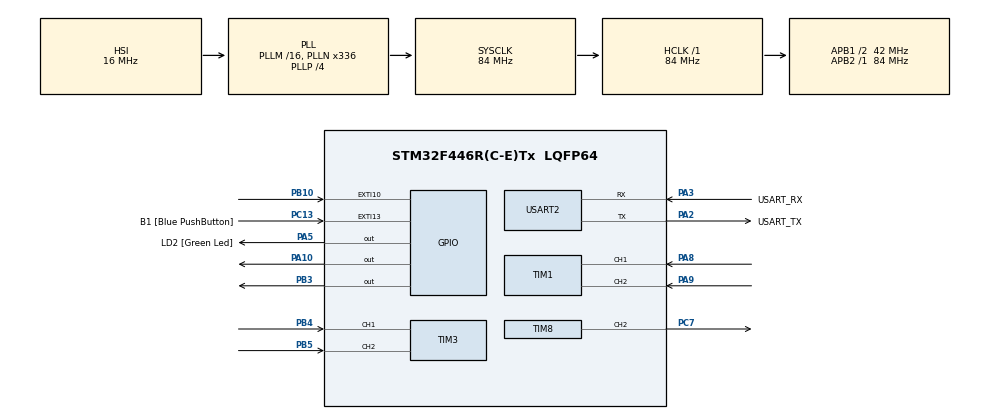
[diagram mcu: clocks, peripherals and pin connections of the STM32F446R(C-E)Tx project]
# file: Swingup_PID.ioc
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Mcu.Family=STM32F4
Mcu.Name=STM32F446R(C-E)Tx
Mcu.Package=LQFP64
NVIC.EXTI15_10_IRQn=true\:0\:0\:false\:false\:true\:true\:true\:true
NVIC.PriorityGroup=NVIC_PRIORITYGROUP_0
NVIC.TIM1_CC_IRQn=true\:0\:0\:false\:false\:true\:true\:true\:true
PA10.Signal=GPIO_Output
PA13.GPIO_Label=TMS
PA13.Mode=Serial_Wire
PA13.Signal=SYS_JTMS-SWDIO
PA14.GPIO_Label=TCK
PA14.Mode=Serial_Wire
PA14.Signal=SYS_JTCK-SWCLK
PA2.GPIO_Label=USART_TX
PA2.Mode=Asynchronous
PA2.Signal=USART2_TX
PA3.GPIO_Label=USART_RX
PA3.Mode=Asynchronous
PA3.Signal=USART2_RX
PA5.GPIO_Label=LD2 [Green Led]
PA5.Signal=GPIO_Output
PA8.Signal=S_TIM1_CH1
PA9.Signal=S_TIM1_CH2
PB10.Signal=GPXTI10
PB3.Signal=GPIO_Output
PB4.Signal=S_TIM3_CH1
PB5.Signal=S_TIM3_CH2
PC13.GPIO_Label=B1 [Blue PushButton]
PC13.GPIO_ModeDefaultEXTI=GPIO_MODE_IT_FALLING
PC13.Signal=GPXTI13
PC14-OSC32_IN.Mode=LSE-External-Oscillator
PC14-OSC32_IN.Signal=RCC_OSC32_IN
PC15-OSC32_OUT.Mode=LSE-External-Oscillator
PC15-OSC32_OUT.Signal=RCC_OSC32_OUT
PC7.Signal=S_TIM8_CH2
PH0-OSC_IN.Mode=HSE-External-Oscillator
PH0-OSC_IN.Signal=RCC_OSC_IN
PH1-OSC_OUT.Mode=HSE-External-Oscillator
PH1-OSC_OUT.Signal=RCC_OSC_OUT
ProjectManager.HeapSize=0x200
ProjectManager.StackSize=0x400
ProjectManager.TargetToolchain=STM32CubeIDE
RCC.48MHZClocksFreq_Value=84000000
RCC.AHBFreq_Value=84000000
RCC.APB1CLKDivider=RCC_HCLK_DIV2
RCC.APB1Freq_Value=42000000
RCC.APB1TimFreq_Value=84000000
RCC.APB2Freq_Value=84000000
RCC.APB2TimFreq_Value=84000000
RCC.CortexFreq_Value=84000000
RCC.FLatency-AdvancedSettings=FLASH_LATENCY_2
RCC.HCLKFreq_Value=84000000
RCC.HSE_VALUE=8000000
RCC.HSI_VALUE=16000000
RCC.PLLN=336
RCC.PLLP=RCC_PLLP_DIV4
RCC.SYSCLKFreq_VALUE=84000000
RCC.SYSCLKSource=RCC_SYSCLKSOURCE_PLLCLK
RCC.USBFreq_Value=168000000
RCC.VCOOutputFreq_Value=336000000
SH.S_TIM1_CH1.0=TIM1_CH1,Encoder_Interface
SH.S_TIM1_CH2.0=TIM1_CH2,Encoder_Interface
SH.S_TIM3_CH1.0=TIM3_CH1,Encoder_Interface
SH.S_TIM3_CH2.0=TIM3_CH2,Encoder_Interface
SH.S_TIM8_CH2.0=TIM8_CH2,PWM Generation2 CH2
TIM1.EncoderMode=TIM_ENCODERMODE_TI12
TIM3.EncoderMode=TIM_ENCODERMODE_TI12
TIM8.Channel-PWM\ Generation2\ CH2=TIM_CHANNEL_2
TIM8.Period=4199
USART2.VirtualMode=VM_ASYNC
board=NUCLEO-F446RE

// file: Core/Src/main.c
/* USER CODE BEGIN Header */
/**
  ******************************************************************************
  * @file           : main.c
  * @brief          : Main program body
  ******************************************************************************
  */
/* USER CODE END Header */
#include "main.h"

/* USER CODE BEGIN Includes */
#include <stdio.h>
#include <string.h>
#include <math.h>
#include "furuta_controller.h"
#include "furuta_swingup.h"
/* USER CODE END Includes */

/* USER CODE BEGIN PD */
#define CONTROL_PERIOD_MS        (1U)
#define TELEMETRY_PERIOD_MS      (50U)
#define PWM_DUTY_SAFETY_CAP      (0.80f)

/* USER CODE END PD */

TIM_HandleTypeDef htim1;
TIM_HandleTypeDef htim3;
TIM_HandleTypeDef htim8;

UART_HandleTypeDef huart2;

/* USER CODE BEGIN PV */
volatile uint8_t test_trigger = 0U;
float test_pwm_duty = 0.60f;
volatile uint32_t last_button_press = 0;
volatile uint8_t live_trigger_blue_btn = 0;

volatile int32_t motor_ticks_debug = 0;

FurutaController g_controller;
FurutaControllerConfig g_config;
FurutaControlOutput g_output;

SwingUpController g_swingup_controller;

uint32_t last_control_tick_ms = 0;
uint32_t last_print_tick_ms = 0;
volatile int16_t kickstart_countdown_ms = 0;
volatile uint8_t switch_flag = 0U;
volatile uint8_t pid_stop_latched = 0U;
volatile uint16_t switch_ready_count = 0U;

#define SWITCH_ANGLE_RAD            (0.15f)
#define SWITCH_PEND_VEL_RAD_S       (5.00f)
#define SWITCH_ARM_VEL_RAD_S        (5.0f)
#define SWITCH_CONFIRM_COUNT        (10U)

/* USER CODE END PV */

void SystemClock_Config(void);
static void MX_GPIO_Init(void);
static void MX_USART2_UART_Init(void);
static void MX_TIM1_Init(void);
static void MX_TIM3_Init(void);
static void MX_TIM8_Init(void);
/* USER CODE BEGIN PFP */
static void uart_print(const char *s);
static void motor_drive_apply(int8_t direction, float pwm_duty);
/* USER CODE END PFP */

/* USER CODE BEGIN 0 */
static void uart_print(const char *s)
{
  HAL_UART_Transmit(&huart2, (uint8_t *)s, strlen(s), HAL_MAX_DELAY);
}

void HAL_GPIO_EXTI_Callback(uint16_t GPIO_Pin)
{
#if 0
	if (GPIO_Pin == GPIO_PIN_13)
	{
		// Get the current system time in milliseconds
		        uint32_t current_time = HAL_GetTick();

		        // 2. Debounce: Only accept presses that are at least 200ms apart
		        if ((current_time - last_button_press) > 200)
		        {
		            // Toggle the variable cleanly
		            test_trigger = !test_trigger;

		            // Update the time for the next press
		            last_button_press = current_time;
		        }
	}

#endif
    if (GPIO_Pin == GPIO_PIN_13)
    {
        /* ---------- blue button: if PID is active, stop immediately ---------- */
        if ((switch_flag == 1U) && (g_controller.control_enabled != 0U))
        {
            Disable_SwingUp(&g_swingup_controller);
            FurutaController_DisableControl(&g_controller);

            motor_drive_apply(0, 0.0f);

            g_swingup_controller.output.raw_control = 0.0f;
            g_swingup_controller.output.saturated_control = 0.0f;
            g_swingup_controller.output.pwm_duty = 0.0f;
            g_swingup_controller.output.direction = 0;
            g_swingup_controller.logic.energy_control = 0.0f;
            g_swingup_controller.logic.torque = 0.0f;

            g_output.raw_control = 0.0f;
            g_output.saturated_control = 0.0f;
            g_output.pwm_duty = 0.0f;
            g_output.direction = 0;

            switch_flag = 0U;
            switch_ready_count = 0U;
            kickstart_countdown_ms = 0;
            pid_stop_latched = 1U;

            return;
        }

        /* ---------- blue button: if swing up is active, stop immediately ---------- */
        if ((switch_flag == 0U) && (g_swingup_controller.control_enabled != 0U))
        {
            Disable_SwingUp(&g_swingup_controller);
            FurutaController_DisableControl(&g_controller);

            motor_drive_apply(0, 0.0f);

            g_swingup_controller.output.raw_control = 0.0f;
            g_swingup_controller.output.saturated_control = 0.0f;
            g_swingup_controller.output.pwm_duty = 0.0f;
            g_swingup_controller.output.direction = 0;
            g_swingup_controller.logic.energy_control = 0.0f;
            g_swingup_controller.logic.torque = 0.0f;

            g_output.raw_control = 0.0f;
            g_output.saturated_control = 0.0f;
            g_output.pwm_duty = 0.0f;
            g_output.direction = 0;

            switch_flag = 0U;
            switch_ready_count = 0U;
            kickstart_countdown_ms = 0;
            pid_stop_latched = 1U;

            return;
        }

        /* ---------- blue button: if everything is stopped, start swing-up ---------- */
        if ((g_swingup_controller.control_enabled == 0U) &&
            (g_controller.control_enabled == 0U))
        {
            uint16_t pendulum_cnt_now = (uint16_t)__HAL_TIM_GET_COUNTER(&htim3);
            uint16_t motor_counter_now = (uint16_t)__HAL_TIM_GET_COUNTER(&htim1);

            motor_drive_apply(0, 0.0f);

            FurutaController_DisableControl(&g_controller);

            SwingUp_Controller_init(&g_swingup_controller,
                                    pendulum_cnt_now,
                                    motor_counter_now);
            Enable_SwingUp(&g_swingup_controller);

            g_swingup_controller.output.raw_control = 0.0f;
            g_swingup_controller.output.saturated_control = 0.0f;
            g_swingup_controller.output.pwm_duty = 0.0f;
            g_swingup_controller.output.direction = 0;
            g_swingup_controller.logic.energy_control = 0.0f;
            g_swingup_controller.logic.torque = 0.0f;

            g_output.raw_control = 0.0f;
            g_output.saturated_control = 0.0f;
            g_output.pwm_duty = 0.0f;
            g_output.direction = 0;

            pid_stop_latched = 0U;
            switch_flag = 0U;
            switch_ready_count = 0U;
            kickstart_countdown_ms = 100;
        }
    }

}

static void motor_drive_apply(int8_t direction, float pwm_duty)
{
  uint32_t arr = __HAL_TIM_GET_AUTORELOAD(&htim8);
  uint32_t compare = 0U;

  if (pwm_duty < 0.0f)
  {
    pwm_duty = 0.0f;
  }
  if (pwm_duty > PWM_DUTY_SAFETY_CAP)
  {
    pwm_duty = PWM_DUTY_SAFETY_CAP;
  }

  compare = (uint32_t)(pwm_duty * (float)arr);

  if (direction > 0)
  {
    HAL_GPIO_WritePin(GPIOA, GPIO_PIN_10, GPIO_PIN_RESET);
    HAL_GPIO_WritePin(GPIOB, GPIO_PIN_3,  GPIO_PIN_SET);
  }
  else if (direction < 0)
  {
    HAL_GPIO_WritePin(GPIOA, GPIO_PIN_10, GPIO_PIN_SET);
    HAL_GPIO_WritePin(GPIOB, GPIO_PIN_3,  GPIO_PIN_RESET);
  }
  else
  {
    HAL_GPIO_WritePin(GPIOA, GPIO_PIN_10, GPIO_PIN_RESET);
    HAL_GPIO_WritePin(GPIOB, GPIO_PIN_3,  GPIO_PIN_RESET);
    compare = 0U;
  }

  __HAL_TIM_SET_COMPARE(&htim8, TIM_CHANNEL_2, compare);
}
/* USER CODE END 0 */

int main(void)
{

  /* MCU Configuration--------------------------------------------------------*/

  /* Reset of all peripherals, Initializes the Flash interface and the Systick. */
  HAL_Init();

  /* Configure the system clock */
  SystemClock_Config();

  /* Initialize all configured peripherals */
  MX_GPIO_Init();
  MX_USART2_UART_Init();
  MX_TIM1_Init();
  MX_TIM3_Init();
  MX_TIM8_Init();
  /* USER CODE BEGIN 2 */

  HAL_Delay(500);
  uart_print("Booting Swing Up controller...\r\n");

  HAL_TIM_Encoder_Start(&htim3, TIM_CHANNEL_ALL);   // 小摆杆编码器 D4/D5
  HAL_TIM_Encoder_Start(&htim1, TIM_CHANNEL_ALL);   // motor encoder D7/D8
  HAL_TIM_PWM_Start(&htim8, TIM_CHANNEL_2);         // PWMA = D9

  motor_drive_apply(0, 0.0f);

  g_swingup_controller.output.raw_control = 0.0f;
  g_swingup_controller.output.saturated_control = 0.0f;
  g_swingup_controller.output.pwm_duty = 0.0f;
  g_swingup_controller.output.direction = 0U;

  g_swingup_controller.config.sample_time_s = 0.001f;
  g_swingup_controller.config.pendulum_counts_per_rev = 4096.0f;
  g_swingup_controller.config.motor_counts_per_rev = 44.0f;
  g_swingup_controller.config.motor_gear_ratio = 9.267f;
  //g_swingup_controller.config.arm_outer_loop_divider = 5U;
  g_swingup_controller.config.control_limit = 0.170f; // 0.080f 0.160f
  g_swingup_controller.config.deadband = 0.0f;
  g_swingup_controller.config.kickstart_pwm_duty = 0.10f;   // 原来 0.08

  g_swingup_controller.mech_params.L_arm = 145e-3f;
  g_swingup_controller.mech_params.I_arm = 7.1e-4f;
  g_swingup_controller.mech_params.lcom_1 = 0.0503f;
  g_swingup_controller.mech_params.I_1 = 1.05e-4f;
  g_swingup_controller.mech_params.m_1 = 0.0542f;
  g_swingup_controller.mech_params.g = 9.81f;

  g_swingup_controller.mech_params.f_v_arm = 0.0f;
  g_swingup_controller.mech_params.f_c_arm = 0.0f;
  g_swingup_controller.mech_params.k_fc_arm = 0.0f;
  g_swingup_controller.mech_params.f_v_1 = 0.0f;
  g_swingup_controller.mech_params.f_c_1 = 0.0f;
  g_swingup_controller.mech_params.k_fc_1 = 0.0f;

  g_swingup_controller.tuning_params.K = 0.0035f;           // 原来 0.0030
  g_swingup_controller.tuning_params.arm_kp = 1.00f;
  g_swingup_controller.tuning_params.arm_kd = 1.40f;       // 原来 0
  g_swingup_controller.tuning_params.target_energy_offset = 0.03f;
  g_swingup_controller.tuning_params.tanh_smoothing_factor = 100.0f;
  g_swingup_controller.tuning_params.v_theta_1_LPF_gain = 0.90f;
  g_swingup_controller.tuning_params.v_theta_arm_LPF_gain = 0.90f;

  g_config = FurutaController_DefaultConfig();
  g_config.motor_counts_per_rev = 44.0f;
  g_config.motor_gear_ratio = 9.267f;
  g_config.sample_time_s = 0.001f;
  g_config.control_limit = 1.0f;
  g_config.deadband = 0.0f;

  g_config.pendulum_pid.kp = 3.2f;
  g_config.pendulum_pid.ki = 0.0f;
  g_config.pendulum_pid.kd = 0.15f;
  g_config.pendulum_pid.output_min = -100.0f;
  g_config.pendulum_pid.output_max = 100.0f;
  g_config.pendulum_pid.derivative_filter_n = 10.0f;

  g_config.arm_outer_loop_divider = 7U;
  g_config.arm_pid.kp = 0.01f;
  g_config.arm_pid.ki = 0.0f;
  g_config.arm_pid.kd = 0.045f;
  g_config.arm_pid.output_min = -0.10f;
  g_config.arm_pid.output_max = 0.10f;
  g_config.arm_pid.derivative_filter_n = 8.0f;
  {
      uint16_t motor_counter_now = (uint16_t)__HAL_TIM_GET_COUNTER(&htim1);
      motor_ticks_debug = (int32_t)motor_counter_now;

      SwingUp_Controller_init(&g_swingup_controller,
                            (uint16_t)__HAL_TIM_GET_COUNTER(&htim3),
                            motor_counter_now);

      FurutaController_Init(&g_controller,
                                  &g_config,
                                  (uint16_t)__HAL_TIM_GET_COUNTER(&htim3),
                                  motor_counter_now);

  }

  last_control_tick_ms = HAL_GetTick();
  last_print_tick_ms = HAL_GetTick();

  //uart_print("Controller initialized in SAFE mode. Pendulum down = reference, motor output disabled.\r\n");
  //uart_print("Manually swing the pendulum, then press the blue button to enable balance control.\r\n");
  /* USER CODE END 2 */

  /* Infinite loop */
  /* USER CODE BEGIN WHILE */
#if 0
  while (1)
  {
	  if (test_trigger == 1U)
	  {
		  motor_drive_apply(1U, test_pwm_duty);
	  }
	  else
	  {
		  motor_drive_apply(0, 0.0f);
	  }
  }

#endif
  while (1)
  {
	  if (live_trigger_blue_btn == 1)
	  {
		live_trigger_blue_btn = 0; // Reset it immediately
		HAL_GPIO_EXTI_Callback(GPIO_PIN_13); // Simulate the interrupt
	  }

      uint32_t now_ms = HAL_GetTick();

      if ((now_ms - last_control_tick_ms) >= 1U)
      {
          uint16_t motor_counter_now = (uint16_t)__HAL_TIM_GET_COUNTER(&htim1);
          uint16_t pendulum_cnt_now  = (uint16_t)__HAL_TIM_GET_COUNTER(&htim3);

          motor_ticks_debug = (int32_t)motor_counter_now;

          if ((switch_flag == 0U) && (pid_stop_latched == 0U))
          {
              g_swingup_controller.output = Compute_SwingUpOutput(&g_swingup_controller,
                                               pendulum_cnt_now,
                                               motor_counter_now);

              SwingUp_arm_angle_velocity_limit(&g_swingup_controller, 3.13f, 180.0f);
          }
          else
          {
              g_swingup_controller.output.raw_control = 0.0f;
              g_swingup_controller.output.saturated_control = 0.0f;
              g_swingup_controller.output.pwm_duty = 0.0f;
              g_swingup_controller.output.direction = 0;
              g_swingup_controller.logic.energy_control = 0.0f;
              g_swingup_controller.logic.torque = 0.0f;
          }

          g_output = FurutaController_Step(&g_controller,
                                           pendulum_cnt_now,
                                           motor_counter_now);
          /* ---------- swing-up -> PID switching ---------- */
          if ((g_swingup_controller.control_enabled != 0U) &&
              (switch_flag == 0U) &&
              (pid_stop_latched == 0U))
          {
              uint8_t switch_ready = 0U;
              float pa = g_controller.measured.pendulum_angle_rad;
              float pv = g_controller.measured.pendulum_velocity_rad_s;
              float av = g_controller.measured.arm_velocity_rad_s;

              if ((fabsf(pa) < SWITCH_ANGLE_RAD) &&
                  (fabsf(pv) < SWITCH_PEND_VEL_RAD_S) &&
                  (fabsf(av) < SWITCH_ARM_VEL_RAD_S))
              {
                  switch_ready = 1U;
              }

              if (switch_ready != 0U)
              {
                  if (switch_ready_count < SWITCH_CONFIRM_COUNT)
                  {
                      switch_ready_count++;
                  }
              }
              else
              {
                  switch_ready_count = 0U;
              }

              if (switch_ready_count >= SWITCH_CONFIRM_COUNT)
              {
                  Disable_SwingUp(&g_swingup_controller);

                  g_swingup_controller.output.raw_control = 0.0f;
                  g_swingup_controller.output.saturated_control = 0.0f;
                  g_swingup_controller.output.pwm_duty = 0.0f;
                  g_swingup_controller.output.direction = 0;
                  g_swingup_controller.logic.energy_control = 0.0f;
                  g_swingup_controller.logic.torque = 0.0f;

                  FurutaController_EnableControl(&g_controller);

                  switch_flag = 1U;
                  switch_ready_count = 0U;
                  kickstart_countdown_ms = 0;
                  pid_stop_latched = 0U;

                  uart_print("Switched to PID control.\r\n");
              }
          }
          else
          {
              switch_ready_count = 0U;
          }

          /* ---------- if PID loses balance, stop and wait for next blue button ---------- */
          if ((switch_flag == 1U) &&
              (g_controller.control_enabled == 0U) &&
              (pid_stop_latched == 0U))
          {
              Disable_SwingUp(&g_swingup_controller);
              FurutaController_DisableControl(&g_controller);

              g_swingup_controller.output.raw_control = 0.0f;
              g_swingup_controller.output.saturated_control = 0.0f;
              g_swingup_controller.output.pwm_duty = 0.0f;
              g_swingup_controller.output.direction = 0;
              g_swingup_controller.logic.energy_control = 0.0f;
              g_swingup_controller.logic.torque = 0.0f;

              switch_ready_count = 0U;
              kickstart_countdown_ms = 0;
              pid_stop_latched = 1U;

              motor_drive_apply(0, 0.0f);
              uart_print("PID failed, motor stopped. Press blue button to restart.\r\n");
          }
          /* ---------- apply motor output ---------- */
                  if (pid_stop_latched != 0U)
                  {
                      motor_drive_apply(0, 0.0f);
                  }
                  else if ((switch_flag == 0U) && (kickstart_countdown_ms > 0))
                  {
                      motor_drive_apply(1, 0.10f);
                      kickstart_countdown_ms--;
                  }
                  else if (switch_flag == 1U)
                  {
                      motor_drive_apply(g_output.direction, g_output.pwm_duty);
                  }
                  else
                  {
                      motor_drive_apply(g_swingup_controller.output.direction,
                                        g_swingup_controller.output.pwm_duty);
                  }

                  last_control_tick_ms = now_ms;
              }

      if ((now_ms - last_print_tick_ms) >= 50U)
      {
          char msg[260];

          float pa = g_swingup_controller.measured.pendulum_angle_rad;
          float pv = g_swingup_controller.measured.pendulum_velocity_rad_s;
          float av = g_swingup_controller.measured.arm_velocity_rad_s;

          uint8_t c1 = (fabsf(pa) < SWITCH_ANGLE_RAD) ? 1U : 0U;
          uint8_t c2 = (fabsf(pv) < SWITCH_PEND_VEL_RAD_S) ? 1U : 0U;
          uint8_t c3 = (fabsf(av) < SWITCH_ARM_VEL_RAD_S) ? 1U : 0U;

          snprintf(msg, sizeof(msg),
                   "sw=%u rc=%u suc=%u pa=%.3f pv=%.3f av=%.3f c=%u%u%u\r\n",
                   switch_flag,
                   switch_ready_count,
                   g_swingup_controller.swingup_success,
                   pa, pv, av,
                   c1, c2, c3);

          last_print_tick_ms = now_ms;
      }
          }

  /* USER CODE END 3 */
}

void SystemClock_Config(void)
{
  RCC_OscInitTypeDef RCC_OscInitStruct = {0};
  RCC_ClkInitTypeDef RCC_ClkInitStruct = {0};

  /** Configure the main internal regulator output voltage
  */
  __HAL_RCC_PWR_CLK_ENABLE();
  __HAL_PWR_VOLTAGESCALING_CONFIG(PWR_REGULATOR_VOLTAGE_SCALE3);

  /** Initializes the RCC Oscillators according to the specified parameters
  * in the RCC_OscInitTypeDef structure.
  */
  RCC_OscInitStruct.OscillatorType = RCC_OSCILLATORTYPE_HSI;
  RCC_OscInitStruct.HSIState = RCC_HSI_ON;
  RCC_OscInitStruct.HSICalibrationValue = RCC_HSICALIBRATION_DEFAULT;
  RCC_OscInitStruct.PLL.PLLState = RCC_PLL_ON;
  RCC_OscInitStruct.PLL.PLLSource = RCC_PLLSOURCE_HSI;
  RCC_OscInitStruct.PLL.PLLM = 16;
  RCC_OscInitStruct.PLL.PLLN = 336;
  RCC_OscInitStruct.PLL.PLLP = RCC_PLLP_DIV4;
  RCC_OscInitStruct.PLL.PLLQ = 2;
  RCC_OscInitStruct.PLL.PLLR = 2;
  if (HAL_RCC_OscConfig(&RCC_OscInitStruct) != HAL_OK)
  {
    Error_Handler();
  }

  /** Initializes the CPU, AHB and APB buses clocks
  */
  RCC_ClkInitStruct.ClockType = RCC_CLOCKTYPE_HCLK|RCC_CLOCKTYPE_SYSCLK
                              |RCC_CLOCKTYPE_PCLK1|RCC_CLOCKTYPE_PCLK2;
  RCC_ClkInitStruct.SYSCLKSource = RCC_SYSCLKSOURCE_PLLCLK;
  RCC_ClkInitStruct.AHBCLKDivider = RCC_SYSCLK_DIV1;
  RCC_ClkInitStruct.APB1CLKDivider = RCC_HCLK_DIV2;
  RCC_ClkInitStruct.APB2CLKDivider = RCC_HCLK_DIV1;

  if (HAL_RCC_ClockConfig(&RCC_ClkInitStruct, FLASH_LATENCY_2) != HAL_OK)
  {
    Error_Handler();
  }
}

static void MX_TIM1_Init(void)
{

  TIM_Encoder_InitTypeDef sConfig = {0};
  TIM_MasterConfigTypeDef sMasterConfig = {0};

  htim1.Instance = TIM1;
  htim1.Init.Prescaler = 0;
  htim1.Init.CounterMode = TIM_COUNTERMODE_UP;
  htim1.Init.Period = 65535;
  htim1.Init.ClockDivision = TIM_CLOCKDIVISION_DIV1;
  htim1.Init.RepetitionCounter = 0;
  htim1.Init.AutoReloadPreload = TIM_AUTORELOAD_PRELOAD_DISABLE;
  sConfig.EncoderMode = TIM_ENCODERMODE_TI12;
  sConfig.IC1Polarity = TIM_ICPOLARITY_RISING;
  sConfig.IC1Selection = TIM_ICSELECTION_DIRECTTI;
  sConfig.IC1Prescaler = TIM_ICPSC_DIV1;
  sConfig.IC1Filter = 0;
  sConfig.IC2Polarity = TIM_ICPOLARITY_RISING;
  sConfig.IC2Selection = TIM_ICSELECTION_DIRECTTI;
  sConfig.IC2Prescaler = TIM_ICPSC_DIV1;
  sConfig.IC2Filter = 0;
  if (HAL_TIM_Encoder_Init(&htim1, &sConfig) != HAL_OK)
  {
    Error_Handler();
  }
  sMasterConfig.MasterOutputTrigger = TIM_TRGO_RESET;
  sMasterConfig.MasterSlaveMode = TIM_MASTERSLAVEMODE_DISABLE;
  if (HAL_TIMEx_MasterConfigSynchronization(&htim1, &sMasterConfig) != HAL_OK)
  {
    Error_Handler();
  }

}

static void MX_TIM3_Init(void)
{

  TIM_Encoder_InitTypeDef sConfig = {0};
  TIM_MasterConfigTypeDef sMasterConfig = {0};

  htim3.Instance = TIM3;
  htim3.Init.Prescaler = 0;
  htim3.Init.CounterMode = TIM_COUNTERMODE_UP;
  htim3.Init.Period = 65535;
  htim3.Init.ClockDivision = TIM_CLOCKDIVISION_DIV1;
  htim3.Init.AutoReloadPreload = TIM_AUTORELOAD_PRELOAD_DISABLE;
  sConfig.EncoderMode = TIM_ENCODERMODE_TI12;
  sConfig.IC1Polarity = TIM_ICPOLARITY_RISING;
  sConfig.IC1Selection = TIM_ICSELECTION_DIRECTTI;
  sConfig.IC1Prescaler = TIM_ICPSC_DIV1;
  sConfig.IC1Filter = 0;
  sConfig.IC2Polarity = TIM_ICPOLARITY_RISING;
  sConfig.IC2Selection = TIM_ICSELECTION_DIRECTTI;
  sConfig.IC2Prescaler = TIM_ICPSC_DIV1;
  sConfig.IC2Filter = 0;
  if (HAL_TIM_Encoder_Init(&htim3, &sConfig) != HAL_OK)
  {
    Error_Handler();
  }
  sMasterConfig.MasterOutputTrigger = TIM_TRGO_RESET;
  sMasterConfig.MasterSlaveMode = TIM_MASTERSLAVEMODE_DISABLE;
  if (HAL_TIMEx_MasterConfigSynchronization(&htim3, &sMasterConfig) != HAL_OK)
  {
    Error_Handler();
  }

}

static void MX_TIM8_Init(void)
{

  TIM_MasterConfigTypeDef sMasterConfig = {0};
  TIM_OC_InitTypeDef sConfigOC = {0};
  TIM_BreakDeadTimeConfigTypeDef sBreakDeadTimeConfig = {0};

  htim8.Instance = TIM8;
  htim8.Init.Prescaler = 0;
  htim8.Init.CounterMode = TIM_COUNTERMODE_UP;
  htim8.Init.Period = 4199;
  htim8.Init.ClockDivision = TIM_CLOCKDIVISION_DIV1;
  htim8.Init.RepetitionCounter = 0;
  htim8.Init.AutoReloadPreload = TIM_AUTORELOAD_PRELOAD_DISABLE;
  if (HAL_TIM_PWM_Init(&htim8) != HAL_OK)
  {
    Error_Handler();
  }
  sMasterConfig.MasterOutputTrigger = TIM_TRGO_RESET;
  sMasterConfig.MasterSlaveMode = TIM_MASTERSLAVEMODE_DISABLE;
  if (HAL_TIMEx_MasterConfigSynchronization(&htim8, &sMasterConfig) != HAL_OK)
  {
    Error_Handler();
  }
  sConfigOC.OCMode = TIM_OCMODE_PWM1;
  sConfigOC.Pulse = 0;
  sConfigOC.OCPolarity = TIM_OCPOLARITY_HIGH;
  sConfigOC.OCNPolarity = TIM_OCNPOLARITY_HIGH;
  sConfigOC.OCFastMode = TIM_OCFAST_DISABLE;
  sConfigOC.OCIdleState = TIM_OCIDLESTATE_RESET;
  sConfigOC.OCNIdleState = TIM_OCNIDLESTATE_RESET;
  if (HAL_TIM_PWM_ConfigChannel(&htim8, &sConfigOC, TIM_CHANNEL_2) != HAL_OK)
  {
    Error_Handler();
  }
  sBreakDeadTimeConfig.OffStateRunMode = TIM_OSSR_DISABLE;
  sBreakDeadTimeConfig.OffStateIDLEMode = TIM_OSSI_DISABLE;
  sBreakDeadTimeConfig.LockLevel = TIM_LOCKLEVEL_OFF;
  sBreakDeadTimeConfig.DeadTime = 0;
  sBreakDeadTimeConfig.BreakState = TIM_BREAK_DISABLE;
  sBreakDeadTimeConfig.BreakPolarity = TIM_BREAKPOLARITY_HIGH;
  sBreakDeadTimeConfig.AutomaticOutput = TIM_AUTOMATICOUTPUT_DISABLE;
  if (HAL_TIMEx_ConfigBreakDeadTime(&htim8, &sBreakDeadTimeConfig) != HAL_OK)
  {
    Error_Handler();
  }
  HAL_TIM_MspPostInit(&htim8);

}

static void MX_USART2_UART_Init(void)
{

  huart2.Instance = USART2;
  huart2.Init.BaudRate = 115200;
  huart2.Init.WordLength = UART_WORDLENGTH_8B;
  huart2.Init.StopBits = UART_STOPBITS_1;
  huart2.Init.Parity = UART_PARITY_NONE;
  huart2.Init.Mode = UART_MODE_TX_RX;
  huart2.Init.HwFlowCtl = UART_HWCONTROL_NONE;
  huart2.Init.OverSampling = UART_OVERSAMPLING_16;
  if (HAL_UART_Init(&huart2) != HAL_OK)
  {
    Error_Handler();
  }

}

static void MX_GPIO_Init(void)
{
  GPIO_InitTypeDef GPIO_InitStruct = {0};

  /* GPIO Ports Clock Enable */
  __HAL_RCC_GPIOC_CLK_ENABLE();
  __HAL_RCC_GPIOH_CLK_ENABLE();
  __HAL_RCC_GPIOA_CLK_ENABLE();
  __HAL_RCC_GPIOB_CLK_ENABLE();

  /*Configure GPIO pin Output Level */
  HAL_GPIO_WritePin(GPIOA, LD2_Pin|GPIO_PIN_10, GPIO_PIN_RESET);

  /*Configure GPIO pin Output Level */
  HAL_GPIO_WritePin(GPIOB, GPIO_PIN_3, GPIO_PIN_RESET);

  /*Configure GPIO pin : B1_Pin */
  GPIO_InitStruct.Pin = B1_Pin;
  GPIO_InitStruct.Mode = GPIO_MODE_IT_FALLING;
  GPIO_InitStruct.Pull = GPIO_NOPULL;
  HAL_GPIO_Init(B1_GPIO_Port, &GPIO_InitStruct);

  /*Configure GPIO pins : LD2_Pin PA10 */
  GPIO_InitStruct.Pin = LD2_Pin|GPIO_PIN_10;
  GPIO_InitStruct.Mode = GPIO_MODE_OUTPUT_PP;
  GPIO_InitStruct.Pull = GPIO_NOPULL;
  GPIO_InitStruct.Speed = GPIO_SPEED_FREQ_LOW;
  HAL_GPIO_Init(GPIOA, &GPIO_InitStruct);

  /*Configure GPIO pin : PB10 */
  GPIO_InitStruct.Pin = GPIO_PIN_10;
  GPIO_InitStruct.Mode = GPIO_MODE_IT_RISING;
  GPIO_InitStruct.Pull = GPIO_NOPULL;
  HAL_GPIO_Init(GPIOB, &GPIO_InitStruct);

  /*Configure GPIO pin : PB3 */
  GPIO_InitStruct.Pin = GPIO_PIN_3;
  GPIO_InitStruct.Mode = GPIO_MODE_OUTPUT_PP;
  GPIO_InitStruct.Pull = GPIO_NOPULL;
  GPIO_InitStruct.Speed = GPIO_SPEED_FREQ_LOW;
  HAL_GPIO_Init(GPIOB, &GPIO_InitStruct);

  /* EXTI interrupt init*/
  HAL_NVIC_SetPriority(EXTI15_10_IRQn, 0, 0);
  HAL_NVIC_EnableIRQ(EXTI15_10_IRQn);

}

void Error_Handler(void)
{
  __disable_irq();
  while (1)
  {
  }
}
